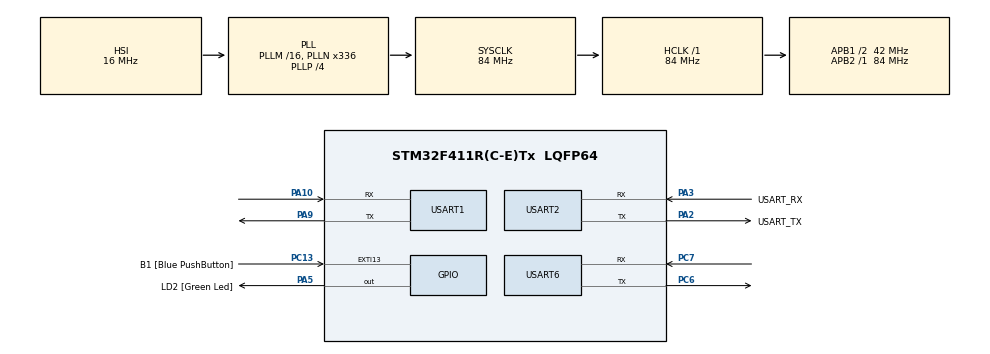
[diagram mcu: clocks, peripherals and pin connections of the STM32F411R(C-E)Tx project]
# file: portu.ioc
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Dma.Request0=USART1_RX
Dma.Request1=USART1_TX
Dma.Request2=USART6_RX
Dma.Request3=USART6_TX
Dma.USART1_RX.0.Direction=DMA_PERIPH_TO_MEMORY
Dma.USART1_RX.0.FIFOMode=DMA_FIFOMODE_DISABLE
Dma.USART1_RX.0.Instance=DMA2_Stream2
Dma.USART1_RX.0.MemDataAlignment=DMA_MDATAALIGN_BYTE
Dma.USART1_RX.0.MemInc=DMA_MINC_ENABLE
Dma.USART1_RX.0.Mode=DMA_NORMAL
Dma.USART1_RX.0.PeriphDataAlignment=DMA_PDATAALIGN_BYTE
Dma.USART1_RX.0.PeriphInc=DMA_PINC_DISABLE
Dma.USART1_RX.0.Priority=DMA_PRIORITY_LOW
Dma.USART1_TX.1.Direction=DMA_MEMORY_TO_PERIPH
Dma.USART1_TX.1.FIFOMode=DMA_FIFOMODE_DISABLE
Dma.USART1_TX.1.Instance=DMA2_Stream7
Dma.USART1_TX.1.MemDataAlignment=DMA_MDATAALIGN_BYTE
Dma.USART1_TX.1.MemInc=DMA_MINC_ENABLE
Dma.USART1_TX.1.Mode=DMA_NORMAL
Dma.USART1_TX.1.PeriphDataAlignment=DMA_PDATAALIGN_BYTE
Dma.USART1_TX.1.PeriphInc=DMA_PINC_DISABLE
Dma.USART1_TX.1.Priority=DMA_PRIORITY_LOW
Dma.USART6_RX.2.Direction=DMA_PERIPH_TO_MEMORY
Dma.USART6_RX.2.FIFOMode=DMA_FIFOMODE_DISABLE
Dma.USART6_RX.2.Instance=DMA2_Stream1
Dma.USART6_RX.2.MemDataAlignment=DMA_MDATAALIGN_BYTE
Dma.USART6_RX.2.MemInc=DMA_MINC_ENABLE
Dma.USART6_RX.2.Mode=DMA_NORMAL
Dma.USART6_RX.2.PeriphDataAlignment=DMA_PDATAALIGN_BYTE
Dma.USART6_RX.2.PeriphInc=DMA_PINC_DISABLE
Dma.USART6_RX.2.Priority=DMA_PRIORITY_LOW
Dma.USART6_TX.3.Direction=DMA_MEMORY_TO_PERIPH
Dma.USART6_TX.3.FIFOMode=DMA_FIFOMODE_DISABLE
Dma.USART6_TX.3.Instance=DMA2_Stream6
Dma.USART6_TX.3.MemDataAlignment=DMA_MDATAALIGN_BYTE
Dma.USART6_TX.3.MemInc=DMA_MINC_ENABLE
Dma.USART6_TX.3.Mode=DMA_NORMAL
Dma.USART6_TX.3.PeriphDataAlignment=DMA_PDATAALIGN_BYTE
Dma.USART6_TX.3.PeriphInc=DMA_PINC_DISABLE
Dma.USART6_TX.3.Priority=DMA_PRIORITY_LOW
Mcu.Family=STM32F4
Mcu.Name=STM32F411R(C-E)Tx
Mcu.Package=LQFP64
NVIC.DMA2_Stream1_IRQn=true\:0\:0\:false\:false\:true\:false\:true\:true
NVIC.DMA2_Stream2_IRQn=true\:0\:0\:false\:false\:true\:false\:true\:true
NVIC.DMA2_Stream6_IRQn=true\:0\:0\:false\:false\:true\:false\:true\:true
NVIC.DMA2_Stream7_IRQn=true\:0\:0\:false\:false\:true\:false\:true\:true
NVIC.PriorityGroup=NVIC_PRIORITYGROUP_0
NVIC.USART1_IRQn=true\:0\:0\:false\:false\:true\:true\:true\:true
NVIC.USART6_IRQn=true\:0\:0\:false\:false\:true\:true\:true\:true
PA10.Mode=Asynchronous
PA10.Signal=USART1_RX
PA13.GPIO_Label=TMS
PA13.Mode=Serial_Wire
PA13.Signal=SYS_JTMS-SWDIO
PA14.GPIO_Label=TCK
PA14.Mode=Serial_Wire
PA14.Signal=SYS_JTCK-SWCLK
PA2.GPIO_Label=USART_TX
PA2.Mode=Asynchronous
PA2.Signal=USART2_TX
PA3.GPIO_Label=USART_RX
PA3.Mode=Asynchronous
PA3.Signal=USART2_RX
PA5.GPIO_Label=LD2 [Green Led]
PA5.Signal=GPIO_Output
PA9.Mode=Asynchronous
PA9.Signal=USART1_TX
PB3.GPIO_Label=SWO
PB3.Signal=SYS_JTDO-SWO
PC13-ANTI_TAMP.GPIO_Label=B1 [Blue PushButton]
PC13-ANTI_TAMP.GPIO_ModeDefaultEXTI=GPIO_MODE_IT_FALLING
PC13-ANTI_TAMP.Signal=GPXTI13
PC14-OSC32_IN.Mode=LSE-External-Oscillator
PC14-OSC32_IN.Signal=RCC_OSC32_IN
PC15-OSC32_OUT.Mode=LSE-External-Oscillator
PC15-OSC32_OUT.Signal=RCC_OSC32_OUT
PC6.Mode=Asynchronous
PC6.Signal=USART6_TX
PC7.Mode=Asynchronous
PC7.Signal=USART6_RX
PH0\ -\ OSC_IN.Mode=HSE-External-Clock-Source
PH0\ -\ OSC_IN.Signal=RCC_OSC_IN
PH1\ -\ OSC_OUT.Mode=HSE-External-Clock-Source
PH1\ -\ OSC_OUT.Signal=RCC_OSC_OUT
ProjectManager.HeapSize=0x200
ProjectManager.StackSize=0x400
ProjectManager.TargetToolchain=STM32CubeIDE
RCC.48MHZClocksFreq_Value=84000000
RCC.AHBFreq_Value=84000000
RCC.APB1CLKDivider=RCC_HCLK_DIV2
RCC.APB1Freq_Value=42000000
RCC.APB1TimFreq_Value=84000000
RCC.APB2Freq_Value=84000000
RCC.APB2TimFreq_Value=84000000
RCC.CortexFreq_Value=84000000
RCC.FLatency-AdvancedSettings=FLASH_LATENCY_2
RCC.HCLKFreq_Value=84000000
RCC.HSE_VALUE=8000000
RCC.HSI_VALUE=16000000
RCC.PLLN=336
RCC.PLLP=RCC_PLLP_DIV4
RCC.SYSCLKFreq_VALUE=84000000
RCC.SYSCLKSource=RCC_SYSCLKSOURCE_PLLCLK
RCC.VCOOutputFreq_Value=336000000
USART1.VirtualMode=VM_ASYNC
USART2.VirtualMode=VM_ASYNC
USART6.VirtualMode=VM_ASYNC
board=NUCLEO-F411RE

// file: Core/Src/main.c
/* USER CODE BEGIN Header */
/**
  ******************************************************************************
  * @file           : main.c
  * @brief          : Основной файл программы
  ******************************************************************************
  */
/* USER CODE END Header */
#include "main.h"

/* USER CODE BEGIN Includes */
#include "secure_uart.h"
#include <string.h>
#include <stdio.h>
/* USER CODE END Includes */

/* USER CODE BEGIN PD */
#define TEST_DATA_SIZE 32
#define STATE_SEND_UART1 0
#define STATE_WAIT1 1
#define STATE_SEND_UART6 2
#define STATE_WAIT30 3
/* USER CODE END PD */

UART_HandleTypeDef huart1;
UART_HandleTypeDef huart2;
UART_HandleTypeDef huart6;
DMA_HandleTypeDef hdma_usart1_rx;
DMA_HandleTypeDef hdma_usart1_tx;
DMA_HandleTypeDef hdma_usart6_rx;
DMA_HandleTypeDef hdma_usart6_tx;

/* USER CODE BEGIN PV */
static uint8_t test_data[TEST_DATA_SIZE];
static uint32_t last_test_time = 0;
static uint8_t current_state = STATE_SEND_UART1;
static uint8_t test_data_uart1[TEST_DATA_SIZE];
static uint8_t test_data_uart6[TEST_DATA_SIZE];
/* USER CODE END PV */

void SystemClock_Config(void);
static void MX_GPIO_Init(void);
static void MX_DMA_Init(void);
static void MX_USART1_UART_Init(void);
static void MX_USART2_UART_Init(void);
static void MX_USART6_UART_Init(void);

int main(void)
{

  /* MCU Configuration--------------------------------------------------------*/

  /* Reset of all peripherals, Initializes the Flash interface and the Systick. */
  HAL_Init();

  /* Configure the system clock */
  SystemClock_Config();

  /* Initialize all configured peripherals */
  MX_GPIO_Init();
  MX_DMA_Init();
  MX_USART1_UART_Init();
  MX_USART2_UART_Init();
  MX_USART6_UART_Init();
  /* USER CODE BEGIN 2 */

  /* Инициализация DWT для бенчмарка */
  CoreDebug->DEMCR |= CoreDebug_DEMCR_TRCENA_Msk;
  DWT->CTRL |= DWT_CTRL_CYCCNTENA_Msk;

  /* Вывод информации о начале работы */
  char startup_msg[100];
  sprintf(startup_msg, "\r\n\r\n*** Защищенный UART протокол ***\r\n");
  HAL_UART_Transmit(&huart2, (uint8_t*)startup_msg, strlen(startup_msg), 100);
  sprintf(startup_msg, "*** Тест базового взаимодействия USART1 <-> USART6 ***\r\n\r\n");
  HAL_UART_Transmit(&huart2, (uint8_t*)startup_msg, strlen(startup_msg), 100);

  /* Проверка соединений перед инициализацией */
  sprintf(startup_msg, "Проверка физического соединения...\r\n");
  HAL_UART_Transmit(&huart2, (uint8_t*)startup_msg, strlen(startup_msg), 100);

  /* Проверка UART1 -> UART6 */
  uint8_t test_byte = 0xA5;
  sprintf(startup_msg, "Отправка тестового байта 0xA5 с UART1 на UART6...\r\n");
  HAL_UART_Transmit(&huart2, (uint8_t*)startup_msg, strlen(startup_msg), 100);
  HAL_UART_Transmit(&huart1, &test_byte, 1, 100);
  HAL_Delay(10); // Небольшая задержка для приема

  uint8_t rx_byte = 0;
  if (HAL_UART_Receive(&huart6, &rx_byte, 1, 100) == HAL_OK) {
    sprintf(startup_msg, "UART6 получил: 0x%02X %s\r\n",
            rx_byte, (rx_byte == 0xA5) ? "- OK!" : "- ОШИБКА!");
    HAL_UART_Transmit(&huart2, (uint8_t*)startup_msg, strlen(startup_msg), 100);
  } else {
    sprintf(startup_msg, "UART6 НЕ получил данные - проверьте соединение UART1_TX -> UART6_RX!\r\n");
    HAL_UART_Transmit(&huart2, (uint8_t*)startup_msg, strlen(startup_msg), 100);
  }

  /* Проверка UART6 -> UART1 */
  test_byte = 0x5A;
  sprintf(startup_msg, "Отправка тестового байта 0x5A с UART6 на UART1...\r\n");
  HAL_UART_Transmit(&huart2, (uint8_t*)startup_msg, strlen(startup_msg), 100);
  HAL_UART_Transmit(&huart6, &test_byte, 1, 100);
  HAL_Delay(10); // Небольшая задержка для приема

  if (HAL_UART_Receive(&huart1, &rx_byte, 1, 100) == HAL_OK) {
    sprintf(startup_msg, "UART1 получил: 0x%02X %s\r\n",
            rx_byte, (rx_byte == 0x5A) ? "- OK!" : "- ОШИБКА!");
    HAL_UART_Transmit(&huart2, (uint8_t*)startup_msg, strlen(startup_msg), 100);
  } else {
    sprintf(startup_msg, "UART1 НЕ получил данные - проверьте соединение UART6_TX -> UART1_RX!\r\n");
    HAL_UART_Transmit(&huart2, (uint8_t*)startup_msg, strlen(startup_msg), 100);
  }

  /* Инициализация защищенного UART */
  sprintf(startup_msg, "\r\nИнициализация защищенного UART протокола...\r\n");
  HAL_UART_Transmit(&huart2, (uint8_t*)startup_msg, strlen(startup_msg), 100);

  SecureUart_Init(
    &huart1, &huart6, &huart2,
    &hdma_usart1_tx, &hdma_usart1_rx,
    &hdma_usart6_tx, &hdma_usart6_rx
  );

  /* Генерация тестовых данных */
  for (uint8_t i = 0; i < TEST_DATA_SIZE; i++) {
    test_data_uart1[i] = i;
    test_data_uart6[i] = i + 128; // Другой набор данных для UART6
  }

  // Инициализация последовательного цикла отправки
  current_state = STATE_SEND_UART1;
  last_test_time = HAL_GetTick();

  /* USER CODE END 2 */

  /* Infinite loop */
  while (1)
  {

    /* USER CODE BEGIN 3 */

    /* Обработка входящих данных */
    SecureUart_Process();

    /* Последовательная отправка тестовых данных с заданными задержками */
    uint32_t current_time = HAL_GetTick();

    switch (current_state) {
      case STATE_SEND_UART1:
        /* Отправка тестовых данных с UART1 на UART6 */
        SecureUart_Debug("\r\n---------------------------------------\r\n");
        SecureUart_Debug("Отправка тестовых данных с UART1 на UART6\r\n");
        SecureUart_SendFromUart1(test_data_uart1, TEST_DATA_SIZE);

        /* Переход к следующему состоянию */
        current_state = STATE_WAIT1;
        last_test_time = current_time;
        break;

      case STATE_WAIT1:
        /* Ожидание 1 секунду */
        if (current_time - last_test_time >= 1000) {
          current_state = STATE_SEND_UART6;
          last_test_time = current_time;
        }
        break;

      case STATE_SEND_UART6:
        /* Отправка тестовых данных с UART6 на UART1 */
        SecureUart_Debug("\r\n---------------------------------------\r\n");
        SecureUart_Debug("Отправка тестовых данных с UART6 на UART1\r\n");
        SecureUart_SendFromUart6(test_data_uart6, TEST_DATA_SIZE);

        /* Переход к следующему состоянию */
        current_state = STATE_WAIT30;
        last_test_time = current_time;
        break;

      case STATE_WAIT30:
        /* Ожидание 30 секунд */
        if (current_time - last_test_time >= 30000) {
          current_state = STATE_SEND_UART1;
          last_test_time = current_time;

          /* Модификация тестовых данных для следующего цикла */
          for (uint8_t i = 0; i < TEST_DATA_SIZE; i++) {
            test_data_uart1[i] = (test_data_uart1[i] + 1) % 256;
            test_data_uart6[i] = (test_data_uart6[i] + 1) % 256;
          }
        }
        break;
    }
  }
  /* USER CODE END 3 */
}

void SystemClock_Config(void)
{
  RCC_OscInitTypeDef RCC_OscInitStruct = {0};
  RCC_ClkInitTypeDef RCC_ClkInitStruct = {0};

  /** Configure the main internal regulator output voltage
  */
  __HAL_RCC_PWR_CLK_ENABLE();
  __HAL_PWR_VOLTAGESCALING_CONFIG(PWR_REGULATOR_VOLTAGE_SCALE1);

  /** Initializes the RCC Oscillators according to the specified parameters
  * in the RCC_OscInitTypeDef structure.
  */
  RCC_OscInitStruct.OscillatorType = RCC_OSCILLATORTYPE_HSI;
  RCC_OscInitStruct.HSIState = RCC_HSI_ON;
  RCC_OscInitStruct.HSICalibrationValue = RCC_HSICALIBRATION_DEFAULT;
  RCC_OscInitStruct.PLL.PLLState = RCC_PLL_ON;
  RCC_OscInitStruct.PLL.PLLSource = RCC_PLLSOURCE_HSI;
  RCC_OscInitStruct.PLL.PLLM = 16;
  RCC_OscInitStruct.PLL.PLLN = 336;
  RCC_OscInitStruct.PLL.PLLP = RCC_PLLP_DIV4;
  RCC_OscInitStruct.PLL.PLLQ = 4;
  if (HAL_RCC_OscConfig(&RCC_OscInitStruct) != HAL_OK)
  {
    Error_Handler();
  }

  /** Initializes the CPU, AHB and APB buses clocks
  */
  RCC_ClkInitStruct.ClockType = RCC_CLOCKTYPE_HCLK|RCC_CLOCKTYPE_SYSCLK
                              |RCC_CLOCKTYPE_PCLK1|RCC_CLOCKTYPE_PCLK2;
  RCC_ClkInitStruct.SYSCLKSource = RCC_SYSCLKSOURCE_PLLCLK;
  RCC_ClkInitStruct.AHBCLKDivider = RCC_SYSCLK_DIV1;
  RCC_ClkInitStruct.APB1CLKDivider = RCC_HCLK_DIV2;
  RCC_ClkInitStruct.APB2CLKDivider = RCC_HCLK_DIV1;

  if (HAL_RCC_ClockConfig(&RCC_ClkInitStruct, FLASH_LATENCY_2) != HAL_OK)
  {
    Error_Handler();
  }
}

/* Переопределение функций HAL для дополнительной отладки */
/**
 * @brief Переопределение функции HAL_UART_TxCpltCallback
 */
void HAL_UART_TxCpltCallback(UART_HandleTypeDef *huart)
{
  char debug_msg[100];
  sprintf(debug_msg, "HAL_UART_TxCpltCallback вызван для UART%d\r\n",
          (huart->Instance == USART1) ? 1 :
          (huart->Instance == USART2) ? 2 :
          (huart->Instance == USART6) ? 6 : 0);
  HAL_UART_Transmit(huart2, (uint8_t*)debug_msg, strlen(debug_msg), 100);

  if (huart->Instance == USART1) {
    sprintf(debug_msg, "UART1: передача завершена\r\n");
    HAL_UART_Transmit(huart2, (uint8_t*)debug_msg, strlen(debug_msg), 100);
    if (suart_config.uart1.is_tx_busy) {
      suart_config.uart1.is_tx_busy = 0;
    } else {
      sprintf(debug_msg, "ВНИМАНИЕ: UART1 не был помечен как занятый!\r\n");
      HAL_UART_Transmit(huart2, (uint8_t*)debug_msg, strlen(debug_msg), 100);
    }
  } else if (huart->Instance == USART6) {
    sprintf(debug_msg, "UART6: передача завершена\r\n");
    HAL_UART_Transmit(huart2, (uint8_t*)debug_msg, strlen(debug_msg), 100);
    if (suart_config.uart6.is_tx_busy) {
      suart_config.uart6.is_tx_busy = 0;
    } else {
      sprintf(debug_msg, "ВНИМАНИЕ: UART6 не был помечен как занятый!\r\n");
      HAL_UART_Transmit(huart2, (uint8_t*)debug_msg, strlen(debug_msg), 100);
    }
  }
}

/**
 * @brief Переопределение функции HAL_UARTEx_RxEventCallback
 */
void HAL_UARTEx_RxEventCallback(UART_HandleTypeDef *huart, uint16_t Size)
{
  char debug_msg[100];
  sprintf(debug_msg, "HAL_UARTEx_RxEventCallback вызван для UART%d, размер: %d\r\n",
          (huart->Instance == USART1) ? 1 :
          (huart->Instance == USART2) ? 2 :
          (huart->Instance == USART6) ? 6 : 0, Size);
  HAL_UART_Transmit(huart2, (uint8_t*)debug_msg, strlen(debug_msg), 100);

  if (huart->Instance == USART1) {
    uart1_rx_size = Size;
    sprintf(debug_msg, "UART1: получены данные, размер: %d байт\r\n", Size);
    HAL_UART_Transmit(huart2, (uint8_t*)debug_msg, strlen(debug_msg), 100);
    SecureUart_RxCpltCallback_UART1();
  } else if (huart->Instance == USART6) {
    uart6_rx_size = Size;
    sprintf(debug_msg, "UART6: получены данные, размер: %d байт\r\n", Size);
    HAL_UART_Transmit(huart2, (uint8_t*)debug_msg, strlen(debug_msg), 100);
    SecureUart_RxCpltCallback_UART6();
  }
}

static void MX_USART1_UART_Init(void)
{

  huart1.Instance = USART1;
  huart1.Init.BaudRate = 115200;
  huart1.Init.WordLength = UART_WORDLENGTH_8B;
  huart1.Init.StopBits = UART_STOPBITS_1;
  huart1.Init.Parity = UART_PARITY_NONE;
  huart1.Init.Mode = UART_MODE_TX_RX;
  huart1.Init.HwFlowCtl = UART_HWCONTROL_NONE;
  huart1.Init.OverSampling = UART_OVERSAMPLING_16;
  if (HAL_UART_Init(&huart1) != HAL_OK)
  {
    Error_Handler();
  }
}

static void MX_USART2_UART_Init(void)
{

  huart2.Instance = USART2;
  huart2.Init.BaudRate = 115200;
  huart2.Init.WordLength = UART_WORDLENGTH_8B;
  huart2.Init.StopBits = UART_STOPBITS_1;
  huart2.Init.Parity = UART_PARITY_NONE;
  huart2.Init.Mode = UART_MODE_TX_RX;
  huart2.Init.HwFlowCtl = UART_HWCONTROL_NONE;
  huart2.Init.OverSampling = UART_OVERSAMPLING_16;
  if (HAL_UART_Init(&huart2) != HAL_OK)
  {
    Error_Handler();
  }
}

static void MX_USART6_UART_Init(void)
{

  huart6.Instance = USART6;
  huart6.Init.BaudRate = 115200;
  huart6.Init.WordLength = UART_WORDLENGTH_8B;
  huart6.Init.StopBits = UART_STOPBITS_1;
  huart6.Init.Parity = UART_PARITY_NONE;
  huart6.Init.Mode = UART_MODE_TX_RX;
  huart6.Init.HwFlowCtl = UART_HWCONTROL_NONE;
  huart6.Init.OverSampling = UART_OVERSAMPLING_16;
  if (HAL_UART_Init(&huart6) != HAL_OK)
  {
    Error_Handler();
  }
}

static void MX_DMA_Init(void)
{
  /* DMA controller clock enable */
  __HAL_RCC_DMA2_CLK_ENABLE();
  __HAL_RCC_DMA1_CLK_ENABLE();

  /* DMA interrupt init */
  /* DMA1_Stream5_IRQn interrupt configuration */
  HAL_NVIC_SetPriority(DMA1_Stream5_IRQn, 0, 0);
  HAL_NVIC_EnableIRQ(DMA1_Stream5_IRQn);
  /* DMA1_Stream6_IRQn interrupt configuration */
  HAL_NVIC_SetPriority(DMA1_Stream6_IRQn, 0, 0);
  HAL_NVIC_EnableIRQ(DMA1_Stream6_IRQn);
  /* DMA2_Stream1_IRQn interrupt configuration */
  HAL_NVIC_SetPriority(DMA2_Stream1_IRQn, 0, 0);
  HAL_NVIC_EnableIRQ(DMA2_Stream1_IRQn);
  /* DMA2_Stream6_IRQn interrupt configuration */
  HAL_NVIC_SetPriority(DMA2_Stream6_IRQn, 0, 0);
  HAL_NVIC_EnableIRQ(DMA2_Stream6_IRQn);
  /* DMA2_Stream7_IRQn interrupt configuration */
  HAL_NVIC_SetPriority(DMA2_Stream7_IRQn, 0, 0);
  HAL_NVIC_EnableIRQ(DMA2_Stream7_IRQn);
}

static void MX_GPIO_Init(void)
{
  GPIO_InitTypeDef GPIO_InitStruct = {0};

  /* GPIO Ports Clock Enable */
  __HAL_RCC_GPIOC_CLK_ENABLE();
  __HAL_RCC_GPIOH_CLK_ENABLE();
  __HAL_RCC_GPIOA_CLK_ENABLE();
  __HAL_RCC_GPIOB_CLK_ENABLE();

  /*Configure GPIO pin Output Level */
  HAL_GPIO_WritePin(LD2_GPIO_Port, LD2_Pin, GPIO_PIN_RESET);

  /*Configure GPIO pin : B1_Pin */
  GPIO_InitStruct.Pin = B1_Pin;
  GPIO_InitStruct.Mode = GPIO_MODE_IT_FALLING;
  GPIO_InitStruct.Pull = GPIO_NOPULL;
  HAL_GPIO_Init(B1_GPIO_Port, &GPIO_InitStruct);

  /*Configure GPIO pin : LD2_Pin */
  GPIO_InitStruct.Pin = LD2_Pin;
  GPIO_InitStruct.Mode = GPIO_MODE_OUTPUT_PP;
  GPIO_InitStruct.Pull = GPIO_NOPULL;
  GPIO_InitStruct.Speed = GPIO_SPEED_FREQ_LOW;
  HAL_GPIO_Init(LD2_GPIO_Port, &GPIO_InitStruct);
}

void Error_Handler(void)
{
  __disable_irq();
  while (1)
  {
  }
}
